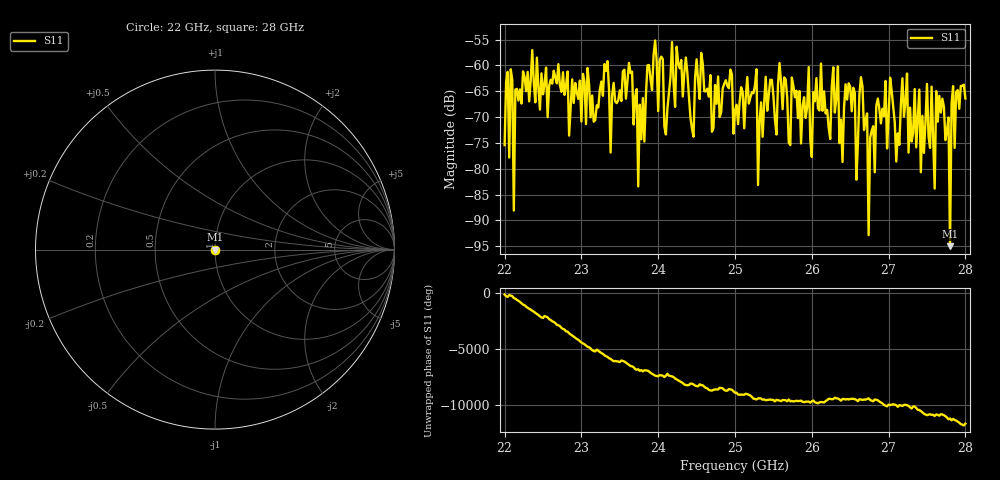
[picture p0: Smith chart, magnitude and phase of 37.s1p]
#  HZ  S  RI  R  50.00
! Rohde & Schwarz ZVA40 4Ports - Version 3.90 - 1145.1110k42 SN: 100403
! Date: 2023-10-04 07:59:13
! Measurement: S12
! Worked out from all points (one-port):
!   301 points, 22 GHz to 28 GHz, reference 50 ohm
!   lowest |S11| = -95.0 dB at 27.8 GHz (marker M1), VSWR 1.00, Z = 50 - j0.00139 ohm
!   |S11| at or under -10 dB: start of sweep to end of sweep
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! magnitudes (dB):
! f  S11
! 22 GHz  -75.4
! 22.04 GHz  -61.3
! 22.12 GHz  -88.1
! 22.14 GHz  -64.7
! 22.36 GHz  -57.0
! 22.76 GHz  -61.3
! 23.5 GHz  -64.8
! 23.72 GHz  -64.6
! 23.74 GHz  -83.4
! 23.96 GHz  -55.2
! 24.1 GHz  -73.4
! 24.26 GHz  -59.5
! 25 GHz  -68.8
! 25.28 GHz  -60.7
! 25.3 GHz  -83.2
! 25.76 GHz  -64.0
! 25.96 GHz  -60.3
! 26 GHz  -77.7
! 26.34 GHz  -60.2
! 26.4 GHz  -78.7
! 26.5 GHz  -64.1
! 26.82 GHz  -80.7
! 27.24 GHz  -61.6
! 27.26 GHz  -76.9
! 27.5 GHz  -63.6
! 27.8 GHz  -95.0
! 27.84 GHz  -64.0
! 28 GHz  -66.4
